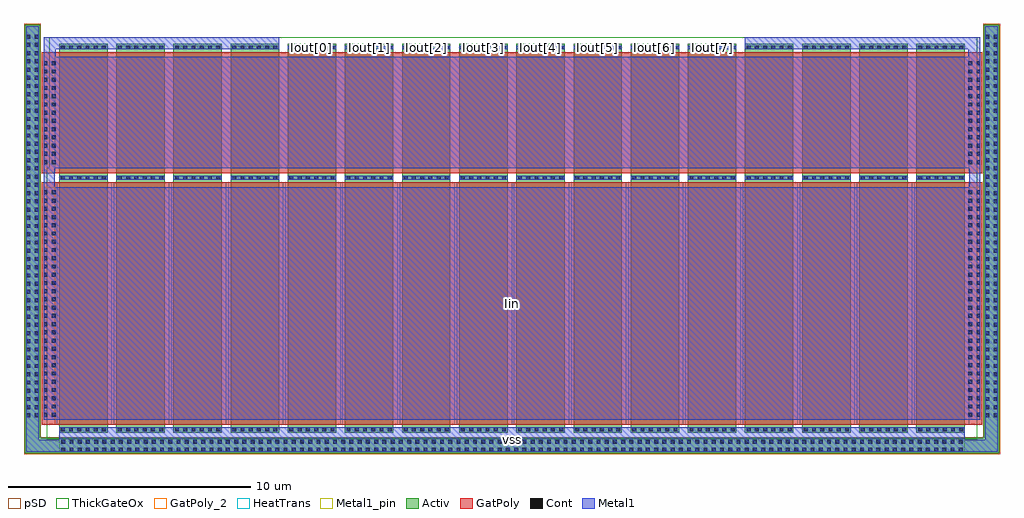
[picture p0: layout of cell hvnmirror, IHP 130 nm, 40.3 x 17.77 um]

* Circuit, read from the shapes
.subckt hvnmirror Iin Iout[0] Iout[1] Iout[2] Iout[3] Iout[4] Iout[5] Iout[6] Iout[7] vss
XM1 n1 Iin vss vss sg13_hv_nmos w=2u l=10u
XM2 Iin Iin n1 vss sg13_hv_nmos w=2u l=5u
XM3 n2 Iin vss vss sg13_hv_nmos w=2u l=10u
XM4 Iin Iin n2 vss sg13_hv_nmos w=2u l=5u
XM5 n3 Iin vss vss sg13_hv_nmos w=2u l=10u
XM6 Iin Iin n3 vss sg13_hv_nmos w=2u l=5u
XM7 n4 Iin vss vss sg13_hv_nmos w=2u l=10u
XM8 Iin Iin n4 vss sg13_hv_nmos w=2u l=5u
XM9 n5 Iin vss vss sg13_hv_nmos w=2u l=10u
XM10 Iout[0] Iin n5 vss sg13_hv_nmos w=2u l=5u
XM11 n6 Iin vss vss sg13_hv_nmos w=2u l=10u
XM12 Iout[1] Iin n6 vss sg13_hv_nmos w=2u l=5u
XM13 n7 Iin vss vss sg13_hv_nmos w=2u l=10u
XM14 Iout[2] Iin n7 vss sg13_hv_nmos w=2u l=5u
XM15 n8 Iin vss vss sg13_hv_nmos w=2u l=10u
XM16 Iout[3] Iin n8 vss sg13_hv_nmos w=2u l=5u
XM17 n9 Iin vss vss sg13_hv_nmos w=2u l=10u
XM18 Iout[4] Iin n9 vss sg13_hv_nmos w=2u l=5u
XM19 n10 Iin vss vss sg13_hv_nmos w=2u l=10u
XM20 Iout[5] Iin n10 vss sg13_hv_nmos w=2u l=5u
XM21 n11 Iin vss vss sg13_hv_nmos w=2u l=10u
XM22 Iout[6] Iin n11 vss sg13_hv_nmos w=2u l=5u
XM23 n12 Iin vss vss sg13_hv_nmos w=2u l=10u
XM24 Iout[7] Iin n12 vss sg13_hv_nmos w=2u l=5u
XM25 n13 Iin vss vss sg13_hv_nmos w=2u l=10u
XM26 Iin Iin n13 vss sg13_hv_nmos w=2u l=5u
XM27 n14 Iin vss vss sg13_hv_nmos w=2u l=10u
XM28 Iin Iin n14 vss sg13_hv_nmos w=2u l=5u
XM29 n15 Iin vss vss sg13_hv_nmos w=2u l=10u
XM30 Iin Iin n15 vss sg13_hv_nmos w=2u l=5u
XM31 n16 Iin vss vss sg13_hv_nmos w=2u l=10u
XM32 Iin Iin n16 vss sg13_hv_nmos w=2u l=5u
.ends

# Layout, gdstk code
from math import pi, radians
import gdstk
lib = gdstk.Library(unit=1e-6, precision=1e-09)
def R(c, l, rs):  # rectangles x0, y0, x1, y1
    for r in rs: c.add(gdstk.rectangle(r[:2], r[2:], *l))
def A(c, l, x, y, w, h, nx, ny, dx, dy):  # array of equal rectangles
    R(c, l, [(x+i*dx, y+j*dy, x+i*dx+w, y+j*dy+h) for i in range(nx) for j in range(ny)])
Activ = (1, 0)
GatPoly = (5, 0)
GatPoly_2 = (5, 2)
Cont = (6, 0)
Metal1 = (8, 0)
Metal1_pin = (8, 2)
pSD = (14, 0)
ThickGateOx = (44, 0)
HeatTrans = (51, 0)

feol_contacts_1 = lib.new_cell('FEOL$contacts$1')
A(feol_contacts_1, Cont, 0.09, 0, 0.16, 0.16, 110, 2, 0.34, 0.34)
R(feol_contacts_1, Metal1, [(0,0,37.4,0.5)])

feol_contacts_3 = lib.new_cell('FEOL$contacts$3')
A(feol_contacts_3, Cont, 0.13, 0, 0.16, 0.16, 28, 2, 0.34, 0.34)
R(feol_contacts_3, Metal1, [(0,0,9.6,0.5)])

feol_contacts = lib.new_cell('FEOL$contacts')
A(feol_contacts, Cont, 0.18, 0, 0.16, 0.16, 13, 2, 0.34, 0.34)
R(feol_contacts, Metal1, [(0,0,4.6,0.5)])

feol_contacts_1_1 = lib.new_cell('FEOL$contacts$1$1')
A(feol_contacts_1_1, Cont, 0.1, 0, 0.16, 0.16, 47, 2, 0.34, 0.34)
R(feol_contacts_1_1, Metal1, [(0,0,16,0.5)])

nmoshv_1 = lib.new_cell('nmosHV$1')
R(nmoshv_1, Activ, [(0,0,0.3,0.3), (0,0,10.68,2), (10.38,0,10.68,0.3)])
R(nmoshv_1, GatPoly, [(0.34,-0.1,10.34,2.18)])
R(nmoshv_1, GatPoly_2, [(0.34,-0.18,10.34,2.18)])
A(nmoshv_1, Cont, 0.07, 0.07, 0.16, 0.16, 1, 6, 0, 0.34)
A(nmoshv_1, Cont, 10.45, 0.07, 0.16, 0.16, 1, 6, 0, 0.34)
R(nmoshv_1, Metal1, [(0.07,0,0.23,2), (10.45,0,10.61,2)])
R(nmoshv_1, Metal1_pin, [(0.07,0,0.23,2), (10.45,0,10.61,2)])
R(nmoshv_1, ThickGateOx, [(-0.27,-0.52,10.95,2.52)])
R(nmoshv_1, HeatTrans, [(0.34,-0.1,10.34,2.18)])
nmoshv_1.add(gdstk.Label('nmosHV', (5.34,1), layer=63, texttype=0))
nmoshv_1.add(gdstk.Label('nmosHV', (5.34,1), layer=51, texttype=0))

nmoshv_2 = lib.new_cell('nmosHV$2')
R(nmoshv_2, Activ, [(0,0,0.3,0.3), (0,0,5.68,2), (5.38,0,5.68,0.3)])
R(nmoshv_2, GatPoly, [(0.34,-0.18,5.34,2.18)])
R(nmoshv_2, GatPoly_2, [(0.34,-0.18,5.34,2.18)])
A(nmoshv_2, Cont, 0.07, 0.07, 0.16, 0.16, 1, 6, 0, 0.34)
A(nmoshv_2, Cont, 5.45, 0.07, 0.16, 0.16, 1, 6, 0, 0.34)
R(nmoshv_2, Metal1, [(0.07,0,0.23,2), (5.45,0,5.61,2)])
R(nmoshv_2, Metal1_pin, [(0.07,0,0.23,2), (5.45,0,5.61,2)])
R(nmoshv_2, ThickGateOx, [(-0.27,-0.405,5.95,2.52)])
R(nmoshv_2, HeatTrans, [(0.34,-0.18,5.34,2.18)])
nmoshv_2.add(gdstk.Label('nmosHV', (2.84,1), layer=63, texttype=0))
nmoshv_2.add(gdstk.Label('nmosHV', (2.84,1), layer=51, texttype=0))

hvncasc = lib.new_cell('hvncasc')
hvncasc.add(gdstk.Reference(nmoshv_1, (0,0), rotation=pi/2, x_reflection=True))
hvncasc.add(gdstk.Reference(nmoshv_2, (0,10.38), rotation=pi/2, x_reflection=True))

hvnmirror = lib.new_cell('hvnmirror')
R(hvnmirror, Metal1, [(-0.64,-4.32,38.04,5.28), (-0.64,6.06,38.04,10.66)])
A(hvnmirror, Metal1_pin, 9.44, 10.97, 2, 0.16, 8, 1, 2.36, 0)
R(hvnmirror, Metal1_pin, [(0,-5.64,37.4,-4.63), (-0.64,-4.32,38.04,5.28)])
hvnmirror.add(gdstk.FlexPath([(-1.1,11.93),(-1.1,-5.39),(38.5,-5.39),(38.5,11.93)], 0.5, ends="flush", simple_path=True, layer=8, datatype=0))  # Metal1
hvnmirror.add(gdstk.FlexPath([(-0.41,-4.32),(-0.41,10.66)], 0.46, ends="flush", simple_path=True, layer=8, datatype=0))  # Metal1
hvnmirror.add(gdstk.FlexPath([(37.81,-4.32),(37.81,10.66)], 0.46, ends="flush", simple_path=True, layer=8, datatype=0))  # Metal1
hvnmirror.add(gdstk.FlexPath([(28.32,11.22),(37.79,11.22),(37.79,6.06)], 0.5, ends="flush", simple_path=True, layer=8, datatype=0))  # Metal1
hvnmirror.add(gdstk.FlexPath([(9.08,11.22),(-0.39,11.22),(-0.39,6.06)], 0.5, ends="flush", simple_path=True, layer=8, datatype=0))  # Metal1
hvnmirror.add(gdstk.FlexPath([(0,-5.135),(37.4,-5.135)], 1.01, ends="flush", simple_path=True, layer=8, datatype=0))  # Metal1
hvnmirror.add(gdstk.FlexPath([(-1.1,12),(-1.1,-5.39),(38.5,-5.39),(38.5,12)], 0.64, ends="flush", simple_path=True, layer=1, datatype=0))  # Activ
hvnmirror.add(gdstk.FlexPath([(-0.71,0.48),(38.11,0.48)], 10, ends="flush", simple_path=True, layer=5, datatype=0))  # GatPoly
hvnmirror.add(gdstk.FlexPath([(-0.71,8.36),(38.11,8.36)], 5, ends="flush", simple_path=True, layer=5, datatype=0))  # GatPoly
hvnmirror.add(gdstk.FlexPath([(-1.1,12.03),(-1.1,-5.39),(38.5,-5.39),(38.5,12.03)], 0.7, ends="flush", simple_path=True, layer=14, datatype=0))  # pSD
hvnmirror.add(gdstk.Reference(feol_contacts_1, (0,-5.64)))
hvnmirror.add(gdstk.Reference(feol_contacts_3, (-0.14,-4.32), rotation=pi/2))
hvnmirror.add(gdstk.Reference(feol_contacts_3, (37.54,-4.32), rotation=pi/2, x_reflection=True))
hvnmirror.add(gdstk.Reference(feol_contacts, (-0.14,6.06), rotation=pi/2))
hvnmirror.add(gdstk.Reference(feol_contacts, (37.54,6.06), rotation=pi/2, x_reflection=True))
hvnmirror.add(gdstk.Reference(feol_contacts_1_1, (38.25,-4.32), rotation=pi/2, x_reflection=True))
hvnmirror.add(gdstk.Reference(feol_contacts_1_1, (-0.85,-4.32), rotation=pi/2))
r = gdstk.Reference(hvncasc, (0,-4.86)); r.repetition = gdstk.Repetition(16, 1, v1=(2.36,0), v2=(0,0)); hvnmirror.add(r)
hvnmirror.add(gdstk.Label('vss', (18.7,-5.135), layer=8, texttype=25))
hvnmirror.add(gdstk.Label('Iin', (18.7,0.48), layer=8, texttype=25))
hvnmirror.add(gdstk.Label('Iout[0]', (10.44,11.05), layer=8, texttype=25))
hvnmirror.add(gdstk.Label('Iout[1]', (12.8,11.05), layer=8, texttype=25))
hvnmirror.add(gdstk.Label('Iout[2]', (15.16,11.05), layer=8, texttype=25))
hvnmirror.add(gdstk.Label('Iout[3]', (17.52,11.05), layer=8, texttype=25))
hvnmirror.add(gdstk.Label('Iout[4]', (19.88,11.05), layer=8, texttype=25))
hvnmirror.add(gdstk.Label('Iout[5]', (22.24,11.05), layer=8, texttype=25))
hvnmirror.add(gdstk.Label('Iout[6]', (24.6,11.05), layer=8, texttype=25))
hvnmirror.add(gdstk.Label('Iout[7]', (26.96,11.05), layer=8, texttype=25))

lib.write_gds('hvnmirror.gds')
